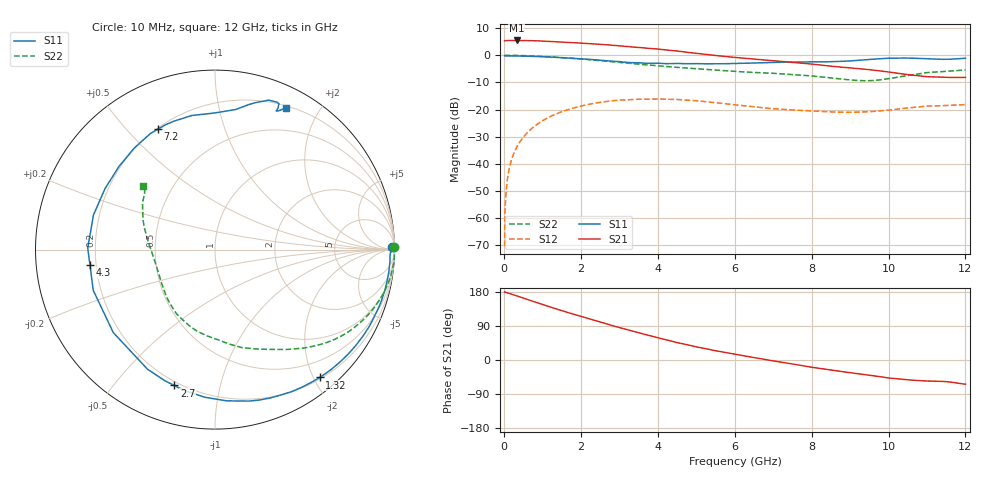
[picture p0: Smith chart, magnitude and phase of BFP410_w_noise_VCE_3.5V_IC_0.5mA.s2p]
! Infineon Technologies  Discrete & RF Semiconductors
! BFP410
! VCE =  3.5 V,  IC =  0.5 mA
! Common Emitter S-Parameters:  Nov 2015
# GHz  S  MA  R  50
!  f  S11  S21  S12  S22
! GHz  MAG  ANG  MAG  ANG  MAG  ANG  MAG  ANG
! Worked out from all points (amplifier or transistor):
!   243 points, 10 MHz to 12 GHz, reference 50 ohm
!   highest |S21| = 5.5 dB at 320 MHz (marker M1)
!   |S21| within 3 dB of that: start of sweep to 3.829 GHz
!   unconditionally stable (mu >= 1): 4.843 GHz to end of sweep
!   at 240 MHz: K = 0.02, MSG = 21.0 dB, |S12| = -36.5 dB
!   at 1.84 GHz: K = 0.25, MSG = 12.0 dB, |S12| = -19.3 dB
!   at 12 GHz: K = 1.49, MAG = 0.9 dB, |S12| = -18.2 dB
!   lowest NFmin = 0.85 dB at 900 MHz
!   S11 on the Smith chart (normalised r, x): 10 MHz: open; 1.32 GHz: 0.22, -2.09; 2.7 GHz: 0.18, -0.73; 4.3 GHz: 0.18, -0.06; 7.2 GHz: 0.21, +0.61; 12 GHz: 0.22, +1.60
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0.01  0.9853 0.7  1.853 179.4  0.0003 77.8  1 0.8
0.015  0.9835 0.3  1.859 179.6  0.0008 83.2  0.9969 0.7
0.02  0.9817 -0.2  1.865 179.7  0.0013 84.4  0.9938 0.5
0.04  0.9776 -1.1  1.866 178.7  0.0025 89.9  0.9979 -0.1
0.07  0.9761 -2.4  1.87 177.6  0.0044 88.7  0.9999 -0.9
0.18  0.9761 -6.6  1.879 174.1  0.0112 85.8  0.9992 -3.2
0.32  0.9737 -11.9  1.882 169.5  0.0198 83.1  0.995 -5.9
0.7  0.9603 -26.4  1.869 156.5  0.0436 74.7  0.9763 -12.9
1.32  0.9206 -50.7  1.792 135.9  0.0811 59.7  0.9251 -23.4
2.02  0.8616 -78.4  1.674 114.4  0.1167 42.7  0.8543 -34.2
2.7  0.7901 -106.7  1.558 94.1  0.1419 26.1  0.7742 -43.7
3.5  0.7314 -140.8  1.404 71.7  0.1549 8.3  0.6869 -54.1
4.1  0.7077 -165.3  1.281 56.2  0.1553 -3.0  0.6316 -61.7
4.3  0.702 -173.0  1.237 51.2  0.154 -6.6  0.6146 -64.5
5  0.7041 164.1  1.089 34.6  0.1453 -18.1  0.5665 -74.6
6.1  0.7088 136.9  0.902 13.5  0.1199 -29.1  0.5001 -88.9
7.2  0.7423 115.5  0.772 -5.5  0.1012 -31.0  0.4558 -105.4
8.2  0.7568 95.8  0.665 -22.1  0.0923 -28.8  0.4023 -125.6
9.4  0.8294 76.9  0.553 -38.8  0.0904 -21.0  0.3392 -162.5
10.2  0.8876 68.7  0.471 -49.3  0.1011 -17.2  0.39 168.2
11  0.864 66.0  0.403 -55.5  0.1157 -19.4  0.4808 147.2
12  0.8832 63.3  0.391 -64.0  0.1234 -23.7  0.5362 138.6
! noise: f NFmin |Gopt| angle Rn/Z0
0.45  0.91  0.8  10  0.81
0.9  0.85  0.78  25  0.75
1.8  1.38  0.67  59  0.64
2.4  1.54  0.64  75  0.53
5.5  3.38  0.54  -159  0.23
